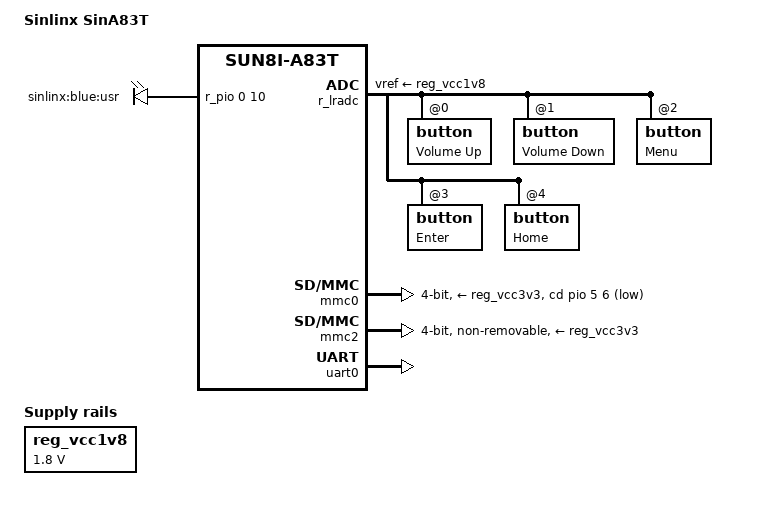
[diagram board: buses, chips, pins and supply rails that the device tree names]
/*
 * Copyright 2017 Ziping Chen
 * Ziping Chen <techping.chan@gmail.com>
 *
 * This file is dual-licensed: you can use it either under the terms
 * of the GPL or the X11 license, at your option. Note that this dual
 * licensing only applies to this file, and not this project as a
 * whole.
 *
 *  a) This file is free software; you can redistribute it and/or
 *     modify it under the terms of the GNU General Public License as
 *     published by the Free Software Foundation; either version 2 of the
 *     License, or (at your option) any later version.
 *
 *     This file is distributed in the hope that it will be useful,
 *     but WITHOUT ANY WARRANTY; without even the implied warranty of
 *     MERCHANTABILITY or FITNESS FOR A PARTICULAR PURPOSE.  See the
 *     GNU General Public License for more details.
 *
 * Or, alternatively,
 *
 *  b) Permission is hereby granted, free of charge, to any person
 *     obtaining a copy of this software and associated documentation
 *     files (the "Software"), to deal in the Software without
 *     restriction, including without limitation the rights to use,
 *     copy, modify, merge, publish, distribute, sublicense, and/or
 *     sell copies of the Software, and to permit persons to whom the
 *     Software is furnished to do so, subject to the following
 *     conditions:
 *
 *     The above copyright notice and this permission notice shall be
 *     included in all copies or substantial portions of the Software.
 *
 *     THE SOFTWARE IS PROVIDED "AS IS", WITHOUT WARRANTY OF ANY KIND,
 *     EXPRESS OR IMPLIED, INCLUDING BUT NOT LIMITED TO THE WARRANTIES
 *     OF MERCHANTABILITY, FITNESS FOR A PARTICULAR PURPOSE AND
 *     NONINFRINGEMENT. IN NO EVENT SHALL THE AUTHORS OR COPYRIGHT
 *     HOLDERS BE LIABLE FOR ANY CLAIM, DAMAGES OR OTHER LIABILITY,
 *     WHETHER IN AN ACTION OF CONTRACT, TORT OR OTHERWISE, ARISING
 *     FROM, OUT OF OR IN CONNECTION WITH THE SOFTWARE OR THE USE OR
 *     OTHER DEALINGS IN THE SOFTWARE.
 */

/dts-v1/;
#include "sun8i-a83t.dtsi"
#include "sunxi-common-regulators.dtsi"

#include <dt-bindings/gpio/gpio.h>
#include <dt-bindings/input/input.h>
#include <dt-bindings/pinctrl/sun4i-a10.h>

/ {
	model = "Sinlinx SinA83T";
	compatible = "sinlinx,sina83t", "allwinner,sun8i-a83t";

	aliases {
		serial0 = &uart0;
	};

	chosen {
		stdout-path = "serial0:115200n8";
	};

	leds {
		compatible = "gpio-leds";

		usr_led {
			label = "sinlinx:blue:usr";
			gpios = <&r_pio 0 10 GPIO_ACTIVE_HIGH>; /* PL10 */
			default-state = "on";
		};
	};

	reg_vcc1v8: vcc1v8 {
		compatible = "regulator-fixed";
		regulator-name = "vcc1v8";
		regulator-min-microvolt = <1800000>;
		regulator-max-microvolt = <1800000>;
	};
};

&r_lradc {
	vref-supply = <&reg_vcc1v8>;
	status = "okay";

	button@0 {
		label = "Volume Up";
		linux,code = <KEY_VOLUMEUP>;
		channel = <0>;
		voltage = <171428>;
	};

	button@1 {
		label = "Volume Down";
		linux,code = <KEY_VOLUMEDOWN>;
		channel = <0>;
		voltage = <342857>;
	};

	button@2 {
		label = "Menu";
		linux,code = <KEY_MENU>;
		channel = <0>;
		voltage = <514285>;
	};

	button@3 {
		label = "Enter";
		linux,code = <KEY_ENTER>;
		channel = <0>;
		voltage = <647619>;
	};

	button@4 {
		label = "Home";
		linux,code = <KEY_HOME>;
		channel = <0>;
		voltage = <780952>;
	};
};

&mmc0 {
	pinctrl-names = "default";
	pinctrl-0 = <&mmc0_pins>;
	vmmc-supply = <&reg_vcc3v3>;
	bus-width = <4>;
	cd-gpios = <&pio 5 6 GPIO_ACTIVE_HIGH>; /* PF6 */
	cd-inverted;
	status = "okay";
};

&mmc2 {
	pinctrl-names = "default";
	pinctrl-0 = <&mmc2_8bit_pins>;
	vmmc-supply = <&reg_vcc3v3>;
	bus-width = <4>;
	non-removable;
	cap-mmc-hw-reset;
	status = "okay";
};

&mmc2_8bit_pins {
	allwinner,drive = <SUN4I_PINCTRL_40_MA>;
	allwinner,pull = <SUN4I_PINCTRL_PULL_UP>;
};

&uart0 {
	pinctrl-names = "default";
	pinctrl-0 = <&uart0_pb_pins>;
	status = "okay";
};
